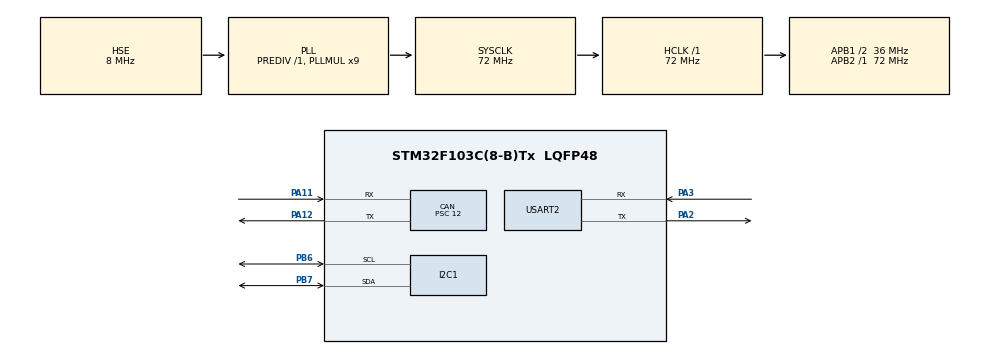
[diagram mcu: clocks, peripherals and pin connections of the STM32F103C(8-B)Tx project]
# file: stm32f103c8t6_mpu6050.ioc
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CAN.BS1=CAN_BS1_4TQ
CAN.CalculateBaudRate=499999
CAN.CalculateTimeBit=2000
CAN.CalculateTimeQuantum=333.33333333333337
CAN.Prescaler=12
I2C1.I2C_Mode=I2C_Fast
Mcu.Family=STM32F1
Mcu.Name=STM32F103C(8-B)Tx
Mcu.Package=LQFP48
NVIC.CAN1_RX1_IRQn=true\:0\:0\:false\:false\:true\:true\:true\:true
NVIC.PriorityGroup=NVIC_PRIORITYGROUP_4
NVIC.TIM2_IRQn=true\:0\:0\:false\:false\:true\:true\:true\:true
NVIC.USB_LP_CAN1_RX0_IRQn=true\:0\:0\:false\:false\:true\:true\:true\:true
PA11.Mode=CAN_Activate
PA11.Signal=CAN_RX
PA12.Mode=CAN_Activate
PA12.Signal=CAN_TX
PA13.Mode=Serial_Wire
PA13.Signal=SYS_JTMS-SWDIO
PA14.Mode=Serial_Wire
PA14.Signal=SYS_JTCK-SWCLK
PA2.Mode=Asynchronous
PA2.Signal=USART2_TX
PA3.Mode=Asynchronous
PA3.Signal=USART2_RX
PB6.Mode=I2C
PB6.Signal=I2C1_SCL
PB7.Mode=I2C
PB7.Signal=I2C1_SDA
PD0-OSC_IN.Mode=HSE-External-Oscillator
PD0-OSC_IN.Signal=RCC_OSC_IN
PD1-OSC_OUT.Mode=HSE-External-Oscillator
PD1-OSC_OUT.Signal=RCC_OSC_OUT
ProjectManager.HeapSize=0x200
ProjectManager.StackSize=0x400
ProjectManager.TargetToolchain=MDK-ARM V5.32
RCC.AHBFreq_Value=72000000
RCC.APB1CLKDivider=RCC_HCLK_DIV2
RCC.APB1Freq_Value=36000000
RCC.APB1TimFreq_Value=72000000
RCC.APB2Freq_Value=72000000
RCC.APB2TimFreq_Value=72000000
RCC.HCLKFreq_Value=72000000
RCC.PLLMUL=RCC_PLL_MUL9
RCC.PLLSourceVirtual=RCC_PLLSOURCE_HSE
RCC.SYSCLKFreq_VALUE=72000000
RCC.SYSCLKSource=RCC_SYSCLKSOURCE_PLLCLK
RCC.USBFreq_Value=72000000
TIM2.Period=999
TIM2.Prescaler=72
USART2.VirtualMode=VM_ASYNC
VP_TIM2_VS_ClockSourceINT.Mode=Internal
board=custom

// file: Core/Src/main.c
/* USER CODE BEGIN Header */
/**
  ******************************************************************************
  * @file           : main.c
  * @brief          : Main program body
  ******************************************************************************
  * @attention
  *
  * Copyright (c) 2025 STMicroelectronics.
  * All rights reserved.
  *
  * This software is licensed under terms that can be found in the LICENSE file
  * in the root directory of this software component.
  * If no LICENSE file comes with this software, it is provided AS-IS.
  *
  ******************************************************************************
  */
/* USER CODE END Header */
#include "main.h"
#include "can.h"
#include "i2c.h"
#include "tim.h"
#include "usart.h"
#include "gpio.h"

/* USER CODE BEGIN Includes */
#include <stdio.h>
#include "mpu6050.h"
#include "kalman_filter.h"
#include "string.h"
/* USER CODE END Includes */

/* USER CODE BEGIN PV */
int16_t accel_x, accel_y, accel_z;
int16_t gyro_x, gyro_y, gyro_z;
float roll, pitch;
float roll_rate, pitch_rate;
float temperature;
float filtered_pitch,filtered_roll; //卡尔曼滤波后的角度
float dt = 0.001f; // 假设时间步长0.01

KalmanState roll_kf, pitch_kf;
/* USER CODE END PV */

void SystemClock_Config(void);

/* USER CODE BEGIN 0 */
uint16_t TickTimeDiff(uint16_t tick)
{
	int tickDiff = HAL_GetTick() - tick;
	if (tickDiff >= 0)
	{
		return (uint16_t)tickDiff;
	}
	else
	{
		return tickDiff + (uint16_t)HAL_MAX_DELAY;
	}
}

int fputc(int ch, FILE *f){
  uint8_t temp[1] = {ch};
  HAL_UART_Transmit(&huart2, temp, 1, 0xffff);
	return ch;
}
//定时器中断回调
void HAL_TIM_PeriodElapsedCallback(TIM_HandleTypeDef *htim)
{
	static uint16_t timems2 = 0;
	if (htim->Instance == TIM2)
	{
		//timems2++;

		if (timems2++ == 20)
		{
			MPU6050_ReadAccel(&hi2c1,&accel_x, &accel_y, &accel_z);
			MPU6050_ReadGyro(&hi2c1,&gyro_x, &gyro_y, &gyro_z);

			roll_rate = gyro_x / 131.0f;
			pitch_rate = gyro_y / 131.0f;
			CalculateAngles(accel_x, accel_y, accel_z, &roll, &pitch);
			filtered_roll = Kalman_Update(&roll_kf, roll, roll_rate, dt);
			filtered_pitch = Kalman_Update(&pitch_kf, pitch, pitch_rate, dt);
			timems2 = 0;
		}
	}
}
/* USER CODE END 0 */

int main(void)
{

  /* MCU Configuration--------------------------------------------------------*/

  /* Reset of all peripherals, Initializes the Flash interface and the Systick. */
  HAL_Init();

  /* Configure the system clock */
  SystemClock_Config();

  /* Initialize all configured peripherals */
  MX_GPIO_Init();
  MX_CAN_Init();
  MX_I2C1_Init();
  MX_USART2_UART_Init();
  MX_TIM2_Init();
  /* USER CODE BEGIN 2 */
	MPU6050_Init(&hi2c1);
	Kalman_Init(&roll_kf,
		0.02f,   // q_angle（基础过程噪声，比原值更低 → 稳态更信任模型）
		0.002f,  // q_bias（基础偏置噪声，更低 → 偏置变化更慢）
		0.02f,   // base_r（基础测量噪声，更高 → 默认更信任预测）
		0.8f,    // alpha（更大 → 误差大时R急剧降低，快速响应）
		0.005f,  // min_r（最小R → 误差极大时允许R足够小，信任测量）
		0.5f,    // max_r（最大R → 限制稳态时的R上限，避免过度平滑）
		0.3f     // gamma（更大 → 误差大时Q显著增大，加速跟踪）
	);

	// 对pitch滤波器使用相同参数
	Kalman_Init(&pitch_kf, 0.02f, 0.002f, 0.02f, 0.8f, 0.005f, 0.5f, 0.3f);
	static uint16_t tick1 = 0;
	HAL_TIM_Base_Start_IT(&htim2); //开启定时器中断
  /* USER CODE END 2 */

  /* Infinite loop */
  /* USER CODE BEGIN WHILE */
  while (1)
  {
		if(TickTimeDiff(tick1) > 50){
				printf("filtered_pitch = %.2f,filtered_roll = %.2f\r\n",filtered_pitch,filtered_roll);
				tick1 = HAL_GetTick();
		}
    /* USER CODE END WHILE */

  }
}

void SystemClock_Config(void)
{
  RCC_OscInitTypeDef RCC_OscInitStruct = {0};
  RCC_ClkInitTypeDef RCC_ClkInitStruct = {0};

  /** Initializes the RCC Oscillators according to the specified parameters
  * in the RCC_OscInitTypeDef structure.
  */
  RCC_OscInitStruct.OscillatorType = RCC_OSCILLATORTYPE_HSE;
  RCC_OscInitStruct.HSEState = RCC_HSE_ON;
  RCC_OscInitStruct.HSEPredivValue = RCC_HSE_PREDIV_DIV1;
  RCC_OscInitStruct.HSIState = RCC_HSI_ON;
  RCC_OscInitStruct.PLL.PLLState = RCC_PLL_ON;
  RCC_OscInitStruct.PLL.PLLSource = RCC_PLLSOURCE_HSE;
  RCC_OscInitStruct.PLL.PLLMUL = RCC_PLL_MUL9;
  if (HAL_RCC_OscConfig(&RCC_OscInitStruct) != HAL_OK)
  {
    Error_Handler();
  }

  /** Initializes the CPU, AHB and APB buses clocks
  */
  RCC_ClkInitStruct.ClockType = RCC_CLOCKTYPE_HCLK|RCC_CLOCKTYPE_SYSCLK
                              |RCC_CLOCKTYPE_PCLK1|RCC_CLOCKTYPE_PCLK2;
  RCC_ClkInitStruct.SYSCLKSource = RCC_SYSCLKSOURCE_PLLCLK;
  RCC_ClkInitStruct.AHBCLKDivider = RCC_SYSCLK_DIV1;
  RCC_ClkInitStruct.APB1CLKDivider = RCC_HCLK_DIV2;
  RCC_ClkInitStruct.APB2CLKDivider = RCC_HCLK_DIV1;

  if (HAL_RCC_ClockConfig(&RCC_ClkInitStruct, FLASH_LATENCY_2) != HAL_OK)
  {
    Error_Handler();
  }
}

void Error_Handler(void)
{
  __disable_irq();
  while (1)
  {
  }
}
